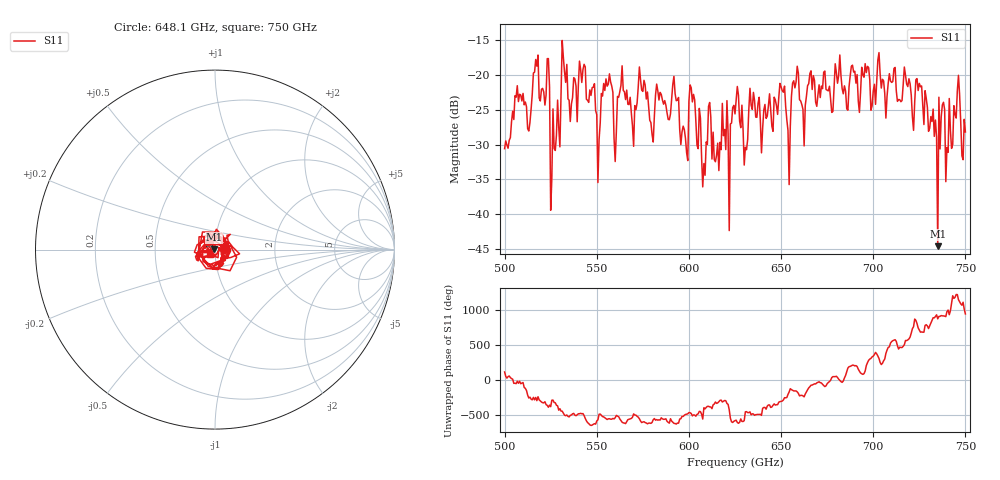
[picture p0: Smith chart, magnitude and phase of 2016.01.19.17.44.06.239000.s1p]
!Created with skrf (http://scikit-rf.org).
# GHz S RI R 50.0
!freq ReS11 ImS11
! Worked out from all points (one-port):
!   401 points, 500 GHz to 750 GHz, reference 50 ohm
!   lowest |S11| = -44.6 dB at 735 GHz (marker M1), VSWR 1.01, Z = 49.5 + j0.263 ohm
!   |S11| at or under -10 dB: start of sweep to end of sweep
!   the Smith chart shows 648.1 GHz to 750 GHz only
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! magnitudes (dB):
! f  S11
! 500 GHz  -30.6
! 506.9 GHz  -21.6
! 513.8 GHz  -26.8
! 516.9 GHz  -17.8
! 523.1 GHz  -17.7
! 526.2 GHz  -24.9
! 531.2 GHz  -15.1
! 542.5 GHz  -19.2
! 550.6 GHz  -35.5
! 553.8 GHz  -21.2
! 560.6 GHz  -28.1
! 562.5 GHz  -22.4
! 593.8 GHz  -23.6
! 598.1 GHz  -29.1
! 601.9 GHz  -23.9
! 608.1 GHz  -32.7
! 610.6 GHz  -24.5
! 625 GHz  -25.6
! 630.6 GHz  -30.4
! 634.4 GHz  -25.0
! 650.6 GHz  -22.3
! 653.8 GHz  -28.0
! 656.2 GHz  -21.2
! 687.5 GHz  -20.1
! 718.8 GHz  -21.7
! 735 GHz  -44.6
! 745.6 GHz  -22.3
! 750 GHz  -28.2
